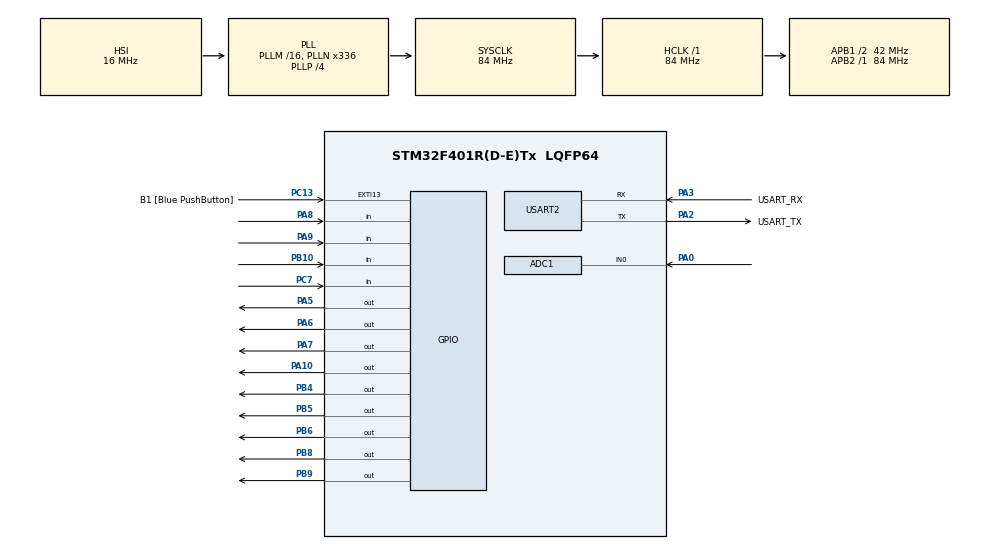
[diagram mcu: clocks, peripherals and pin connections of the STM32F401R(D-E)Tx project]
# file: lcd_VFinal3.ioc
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ADC1.Channel-1\#ChannelRegularConversion=ADC_CHANNEL_0
ADC1.NbrOfConversionFlag=1
ADC1.Rank-1\#ChannelRegularConversion=1
ADC1.SamplingTime-1\#ChannelRegularConversion=ADC_SAMPLETIME_3CYCLES
ADC1.master=1
Mcu.Family=STM32F4
Mcu.Name=STM32F401R(D-E)Tx
Mcu.Package=LQFP64
NVIC.PriorityGroup=NVIC_PRIORITYGROUP_0
PA0-WKUP.Signal=ADCx_IN0
PA10.Signal=GPIO_Output
PA13.GPIO_Label=TMS
PA13.Mode=Serial_Wire
PA13.Signal=SYS_JTMS-SWDIO
PA14.GPIO_Label=TCK
PA14.Mode=Serial_Wire
PA14.Signal=SYS_JTCK-SWCLK
PA2.GPIO_Label=USART_TX
PA2.GPIO_Mode=GPIO_MODE_AF_PP
PA2.GPIO_PuPd=GPIO_NOPULL
PA2.GPIO_Speed=GPIO_SPEED_FREQ_LOW
PA2.Mode=Asynchronous
PA2.Signal=USART2_TX
PA3.GPIO_Label=USART_RX
PA3.GPIO_Mode=GPIO_MODE_AF_PP
PA3.GPIO_PuPd=GPIO_NOPULL
PA3.GPIO_Speed=GPIO_SPEED_FREQ_LOW
PA3.Mode=Asynchronous
PA3.Signal=USART2_RX
PA5.Signal=GPIO_Output
PA6.Signal=GPIO_Output
PA7.Signal=GPIO_Output
PA8.Signal=GPIO_Input
PA9.Signal=GPIO_Input
PB10.Signal=GPIO_Input
PB3.GPIO_Label=SWO
PB3.Signal=SYS_JTDO-SWO
PB4.Signal=GPIO_Output
PB5.Signal=GPIO_Output
PB6.Signal=GPIO_Output
PB8.Signal=GPIO_Output
PB9.Signal=GPIO_Output
PC13-ANTI_TAMP.GPIO_Label=B1 [Blue PushButton]
PC13-ANTI_TAMP.GPIO_ModeDefaultEXTI=GPIO_MODE_IT_FALLING
PC13-ANTI_TAMP.GPIO_PuPd=GPIO_NOPULL
PC13-ANTI_TAMP.Signal=GPXTI13
PC14-OSC32_IN.Mode=LSE-External-Oscillator
PC14-OSC32_IN.Signal=RCC_OSC32_IN
PC15-OSC32_OUT.Mode=LSE-External-Oscillator
PC15-OSC32_OUT.Signal=RCC_OSC32_OUT
PC7.Signal=GPIO_Input
PH0\ -\ OSC_IN.Mode=HSE-External-Clock-Source
PH0\ -\ OSC_IN.Signal=RCC_OSC_IN
PH1\ -\ OSC_OUT.Mode=HSE-External-Clock-Source
PH1\ -\ OSC_OUT.Signal=RCC_OSC_OUT
ProjectManager.HeapSize=0x200
ProjectManager.StackSize=0x400
ProjectManager.TargetToolchain=STM32CubeIDE
RCC.48MHZClocksFreq_Value=48000000
RCC.AHBFreq_Value=84000000
RCC.APB1CLKDivider=RCC_HCLK_DIV2
RCC.APB1Freq_Value=42000000
RCC.APB1TimFreq_Value=84000000
RCC.APB2Freq_Value=84000000
RCC.APB2TimFreq_Value=84000000
RCC.CortexFreq_Value=84000000
RCC.HCLKFreq_Value=84000000
RCC.HSE_VALUE=8000000
RCC.HSI_VALUE=16000000
RCC.PLLN=336
RCC.PLLP=RCC_PLLP_DIV4
RCC.PLLQ=7
RCC.SYSCLKFreq_VALUE=84000000
RCC.SYSCLKSource=RCC_SYSCLKSOURCE_PLLCLK
RCC.VCOOutputFreq_Value=336000000
SH.ADCx_IN0.0=ADC1_IN0,IN0
TIM10.AutoReloadPreload=TIM_AUTORELOAD_PRELOAD_DISABLE
TIM10.Prescaler=83
USART2.VirtualMode=VM_ASYNC
VP_TIM10_VS_ClockSourceINT.Mode=Enable_Timer
board=NUCLEO-F401RE

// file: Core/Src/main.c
/* USER CODE BEGIN Header */
/**
  ******************************************************************************
  * @file           : main.c
  * @brief          : Main program body
  ******************************************************************************
  * @attention
  *
  * Copyright (c) 2023 STMicroelectronics.
  * All rights reserved.
  *
  * This software is licensed under terms that can be found in the LICENSE file
  * in the root directory of this software component.
  * If no LICENSE file comes with this software, it is provided AS-IS.
  *
  ******************************************************************************
  */
/* USER CODE END Header */
#include "main.h"

/* USER CODE BEGIN Includes */
#include "lcd.h"
#include "DHT.h"
#include "stm32f4xx_hal_tim.h"
#include "stm32f4xx_hal_conf.h"
#include "stdbool.h"
/* USER CODE END Includes */

/* USER CODE BEGIN PD */
#define BUTTON_INC_PIN GPIO_PIN_7
#define BUTTON_DEC_PIN GPIO_PIN_9
#define BUTTON_SET_PIN GPIO_PIN_8
#define BUTTON_RESET_PIN GPIO_PIN_10
#define BUZZER_PIN GPIO_PIN_5
#define DHT11_PIN GPIO_PIN_0
/* USER CODE END PD */

ADC_HandleTypeDef hadc1;

TIM_HandleTypeDef htim10;

UART_HandleTypeDef huart2;

/* USER CODE BEGIN PV */
Lcd_HandleTypeDef lcd;
DHT_DataTypedef DHT_Data;
volatile uint32_t timer_seconds = 0;
volatile uint32_t reminders_count = 0;
/* USER CODE END PV */

void SystemClock_Config(void);
static void MX_GPIO_Init(void);
static void MX_USART2_UART_Init(void);
static void MX_TIM10_Init(void);
static void MX_ADC1_Init(void);
/* USER CODE BEGIN PFP */
void displayDataOnLCD(float temperature, float humidity, uint32_t timer_seconds);
void startReminderTimer(uint32_t seconds);
/* USER CODE END PFP */

int main(void)
{
  /* USER CODE BEGIN 1 */
	float temperature;
	float humidity;
	int timer_seconds = 10;
	float voltage;
	uint16_t adcValue;
	bool buzzer = false;
	bool warning = false;
  /* USER CODE END 1 */

  /* MCU Configuration--------------------------------------------------------*/

  /* Reset of all peripherals, Initializes the Flash interface and the Systick. */
  HAL_Init();

  /* Configure the system clock */
  SystemClock_Config();

  /* Initialize all configured peripherals */
  MX_GPIO_Init();
  MX_USART2_UART_Init();
  MX_TIM10_Init();
  MX_ADC1_Init();
  /* USER CODE BEGIN 2 */
  // Lcd_PortType ports[] = { D4_GPIO_Port, D5_GPIO_Port, D6_GPIO_Port, D7_GPIO_Port };
    Lcd_PortType ports[] = { GPIOA, GPIOA, GPIOB, GPIOB };
    // Lcd_PinType pins[] = {D4_Pin, D5_Pin, D6_Pin, D7_Pin};
    Lcd_PinType pins[] = {GPIO_PIN_6, GPIO_PIN_5, GPIO_PIN_9, GPIO_PIN_8};
    // Lcd_create(ports, pins, RS_GPIO_Port, RS_Pin, EN_GPIO_Port, EN_Pin, LCD_4_BIT_MODE);
    lcd = Lcd_create(ports, pins, GPIOA, GPIO_PIN_7, GPIOB, GPIO_PIN_6, LCD_4_BIT_MODE);
    Lcd_clear(&lcd);

  /* USER CODE END 2 */

  /* Infinite loop */
  while (1)
  {
	  if (!buzzer){
		  HAL_ADC_Start(&hadc1); // Starting ADC Conversion
		  HAL_ADC_PollForConversion(&hadc1, HAL_MAX_DELAY); // Wait for completion of conversion
		  adcValue = HAL_ADC_GetValue(&hadc1); // Read conversion
		  HAL_ADC_Stop(&hadc1); // Stop conversion

			   // Convert ADC value to temperature (3.3 V)
		  voltage = (adcValue / 4095.0) * 3.3;
		  temperature = ((voltage - 0.5) * 100) - 1; // TMP36 linear voltage-temperature conversion
		  humidity = (temperature * 2.381) - 5;

		  if (!warning){
			 displayDataOnLCD(temperature, humidity, timer_seconds);
		  }

		  if (temperature > 25){
			 HAL_GPIO_WritePin(GPIOB, BUZZER_PIN, GPIO_PIN_SET);
			 warning = true;
			 Lcd_clear(&lcd);
			 Lcd_cursor(&lcd, 0, 0);
			 Lcd_string(&lcd, "UNSAFE TEMP/HUM!");
			 Lcd_cursor(&lcd, 1, 0);
			 Lcd_string(&lcd, "MOVE BOX!");
			 HAL_Delay(100);

		  }
		  else if(temperature <= 25){
			 HAL_GPIO_WritePin(GPIOB, BUZZER_PIN, GPIO_PIN_RESET);
			 warning = false;
		  }
	  }

 	  if (HAL_GPIO_ReadPin(GPIOA, BUTTON_SET_PIN) == GPIO_PIN_SET) {
 		  HAL_GPIO_WritePin(GPIOB, BUZZER_PIN, GPIO_PIN_RESET);
 		  buzzer = false;
 		  for(uint32_t time = timer_seconds; time >= 0; time--){
			  HAL_ADC_Start(&hadc1); // Starting ADC Conversion
			  HAL_ADC_PollForConversion(&hadc1, HAL_MAX_DELAY); // Wait for completion of conversion
			  adcValue = HAL_ADC_GetValue(&hadc1); // Read conversion
			  HAL_ADC_Stop(&hadc1); // Stop conversion

				   // Convert ADC value to temperature (3.3 V)
			  voltage = (adcValue / 4095.0) * 3.3;
			  temperature = ((voltage - 0.5) * 100) - 1; // TMP36 linear voltage-temperature conversion
			  humidity = (temperature * 2.381) - 5;
			  HAL_Delay(1000);
			  displayDataOnLCD(temperature, humidity, time);
				if (time == 0){
					break;
				}

 			}

 		  	reminders_count++;

		  	Lcd_clear(&lcd);
		  	Lcd_cursor(&lcd, 0, 0);
		  	Lcd_string(&lcd, "Take Your Meds!");

 		  	if (reminders_count == 4){
 		  		Lcd_clear(&lcd);
 		  		Lcd_cursor(&lcd, 0, 0);
 		  		Lcd_string(&lcd, "Refill Meds!");
 		  		reminders_count = 0;
 		  	}

			HAL_GPIO_WritePin(GPIOB, BUZZER_PIN, GPIO_PIN_SET);
			buzzer = true;
 	  }

 	  if (HAL_GPIO_ReadPin(GPIOB, BUTTON_RESET_PIN) == GPIO_PIN_SET) {
 		  // Reset everything
 		  timer_seconds = 0;
 		  reminders_count = 0;
 		  HAL_GPIO_WritePin(GPIOB, BUZZER_PIN, GPIO_PIN_RESET);
 		  buzzer = false;
 		  displayDataOnLCD(temperature, humidity, timer_seconds);
 	  }
 	  if (HAL_GPIO_ReadPin(GPIOC, BUTTON_INC_PIN) == GPIO_PIN_SET) {
 		  // Increase timer
 		  timer_seconds += 5; // You can adjust the increment as needed
 		  displayDataOnLCD(temperature, humidity, timer_seconds);
 	  }

 	  if (HAL_GPIO_ReadPin(GPIOA, BUTTON_DEC_PIN) == GPIO_PIN_SET) {
 		  // Decrease timer
 		  timer_seconds -= 5; // You can adjust the decrement as needed
 		  if (timer_seconds < 0) {
 			  timer_seconds = 0;
 		  }
 		  displayDataOnLCD(temperature, humidity, timer_seconds);
 	  }
 	  HAL_Delay(100);

  }
  /* USER CODE END 3 */
}

void SystemClock_Config(void)
{
  RCC_OscInitTypeDef RCC_OscInitStruct = {0};
  RCC_ClkInitTypeDef RCC_ClkInitStruct = {0};

  /** Configure the main internal regulator output voltage
  */
  __HAL_RCC_PWR_CLK_ENABLE();
  __HAL_PWR_VOLTAGESCALING_CONFIG(PWR_REGULATOR_VOLTAGE_SCALE2);

  /** Initializes the RCC Oscillators according to the specified parameters
  * in the RCC_OscInitTypeDef structure.
  */
  RCC_OscInitStruct.OscillatorType = RCC_OSCILLATORTYPE_HSI;
  RCC_OscInitStruct.HSIState = RCC_HSI_ON;
  RCC_OscInitStruct.HSICalibrationValue = RCC_HSICALIBRATION_DEFAULT;
  RCC_OscInitStruct.PLL.PLLState = RCC_PLL_ON;
  RCC_OscInitStruct.PLL.PLLSource = RCC_PLLSOURCE_HSI;
  RCC_OscInitStruct.PLL.PLLM = 16;
  RCC_OscInitStruct.PLL.PLLN = 336;
  RCC_OscInitStruct.PLL.PLLP = RCC_PLLP_DIV4;
  RCC_OscInitStruct.PLL.PLLQ = 7;
  if (HAL_RCC_OscConfig(&RCC_OscInitStruct) != HAL_OK)
  {
    Error_Handler();
  }

  /** Initializes the CPU, AHB and APB buses clocks
  */
  RCC_ClkInitStruct.ClockType = RCC_CLOCKTYPE_HCLK|RCC_CLOCKTYPE_SYSCLK
                              |RCC_CLOCKTYPE_PCLK1|RCC_CLOCKTYPE_PCLK2;
  RCC_ClkInitStruct.SYSCLKSource = RCC_SYSCLKSOURCE_PLLCLK;
  RCC_ClkInitStruct.AHBCLKDivider = RCC_SYSCLK_DIV1;
  RCC_ClkInitStruct.APB1CLKDivider = RCC_HCLK_DIV2;
  RCC_ClkInitStruct.APB2CLKDivider = RCC_HCLK_DIV1;

  if (HAL_RCC_ClockConfig(&RCC_ClkInitStruct, FLASH_LATENCY_2) != HAL_OK)
  {
    Error_Handler();
  }
}

static void MX_ADC1_Init(void)
{

  ADC_ChannelConfTypeDef sConfig = {0};

  /** Configure the global features of the ADC (Clock, Resolution, Data Alignment and number of conversion)
  */
  hadc1.Instance = ADC1;
  hadc1.Init.ClockPrescaler = ADC_CLOCK_SYNC_PCLK_DIV4;
  hadc1.Init.Resolution = ADC_RESOLUTION_12B;
  hadc1.Init.ScanConvMode = DISABLE;
  hadc1.Init.ContinuousConvMode = DISABLE;
  hadc1.Init.DiscontinuousConvMode = DISABLE;
  hadc1.Init.ExternalTrigConvEdge = ADC_EXTERNALTRIGCONVEDGE_NONE;
  hadc1.Init.ExternalTrigConv = ADC_SOFTWARE_START;
  hadc1.Init.DataAlign = ADC_DATAALIGN_RIGHT;
  hadc1.Init.NbrOfConversion = 1;
  hadc1.Init.DMAContinuousRequests = DISABLE;
  hadc1.Init.EOCSelection = ADC_EOC_SINGLE_CONV;
  if (HAL_ADC_Init(&hadc1) != HAL_OK)
  {
    Error_Handler();
  }

  /** Configure for the selected ADC regular channel its corresponding rank in the sequencer and its sample time.
  */
  sConfig.Channel = ADC_CHANNEL_0;
  sConfig.Rank = 1;
  sConfig.SamplingTime = ADC_SAMPLETIME_3CYCLES;
  if (HAL_ADC_ConfigChannel(&hadc1, &sConfig) != HAL_OK)
  {
    Error_Handler();
  }

}

static void MX_TIM10_Init(void)
{

  htim10.Instance = TIM10;
  htim10.Init.Prescaler = 83;
  htim10.Init.CounterMode = TIM_COUNTERMODE_UP;
  htim10.Init.Period = 65535;
  htim10.Init.ClockDivision = TIM_CLOCKDIVISION_DIV1;
  htim10.Init.AutoReloadPreload = TIM_AUTORELOAD_PRELOAD_DISABLE;
  if (HAL_TIM_Base_Init(&htim10) != HAL_OK)
  {
    Error_Handler();
  }

}

static void MX_USART2_UART_Init(void)
{

  huart2.Instance = USART2;
  huart2.Init.BaudRate = 115200;
  huart2.Init.WordLength = UART_WORDLENGTH_8B;
  huart2.Init.StopBits = UART_STOPBITS_1;
  huart2.Init.Parity = UART_PARITY_NONE;
  huart2.Init.Mode = UART_MODE_TX_RX;
  huart2.Init.HwFlowCtl = UART_HWCONTROL_NONE;
  huart2.Init.OverSampling = UART_OVERSAMPLING_16;
  if (HAL_UART_Init(&huart2) != HAL_OK)
  {
    Error_Handler();
  }

}

static void MX_GPIO_Init(void)
{
  GPIO_InitTypeDef GPIO_InitStruct = {0};

  /* GPIO Ports Clock Enable */
  __HAL_RCC_GPIOC_CLK_ENABLE();
  __HAL_RCC_GPIOH_CLK_ENABLE();
  __HAL_RCC_GPIOA_CLK_ENABLE();
  __HAL_RCC_GPIOB_CLK_ENABLE();

  /*Configure GPIO pin Output Level */
  HAL_GPIO_WritePin(GPIOA, GPIO_PIN_5|GPIO_PIN_6|GPIO_PIN_7, GPIO_PIN_RESET);

  /*Configure GPIO pin Output Level */
  HAL_GPIO_WritePin(GPIOB, GPIO_PIN_5|GPIO_PIN_6|GPIO_PIN_8|GPIO_PIN_9, GPIO_PIN_RESET);

  /*Configure GPIO pin : B1_Pin */
  GPIO_InitStruct.Pin = B1_Pin;
  GPIO_InitStruct.Mode = GPIO_MODE_IT_FALLING;
  GPIO_InitStruct.Pull = GPIO_NOPULL;
  HAL_GPIO_Init(B1_GPIO_Port, &GPIO_InitStruct);

  /*Configure GPIO pins : PA5 PA6 PA7 */
  GPIO_InitStruct.Pin = GPIO_PIN_5|GPIO_PIN_6|GPIO_PIN_7;
  GPIO_InitStruct.Mode = GPIO_MODE_OUTPUT_PP;
  GPIO_InitStruct.Pull = GPIO_NOPULL;
  GPIO_InitStruct.Speed = GPIO_SPEED_FREQ_LOW;
  HAL_GPIO_Init(GPIOA, &GPIO_InitStruct);

  /*Configure GPIO pins : PB10 PB4 */
  GPIO_InitStruct.Pin = GPIO_PIN_10|GPIO_PIN_4;
  GPIO_InitStruct.Mode = GPIO_MODE_INPUT;
  GPIO_InitStruct.Pull = GPIO_NOPULL;
  HAL_GPIO_Init(GPIOB, &GPIO_InitStruct);

  /*Configure GPIO pin : PC7 */
  GPIO_InitStruct.Pin = GPIO_PIN_7;
  GPIO_InitStruct.Mode = GPIO_MODE_INPUT;
  GPIO_InitStruct.Pull = GPIO_NOPULL;
  HAL_GPIO_Init(GPIOC, &GPIO_InitStruct);

  /*Configure GPIO pins : PA8 PA9 */
  GPIO_InitStruct.Pin = GPIO_PIN_8|GPIO_PIN_9;
  GPIO_InitStruct.Mode = GPIO_MODE_INPUT;
  GPIO_InitStruct.Pull = GPIO_NOPULL;
  HAL_GPIO_Init(GPIOA, &GPIO_InitStruct);

  /*Configure GPIO pins : PB5 PB6 PB8 PB9 */
  GPIO_InitStruct.Pin = GPIO_PIN_5|GPIO_PIN_6|GPIO_PIN_8|GPIO_PIN_9;
  GPIO_InitStruct.Mode = GPIO_MODE_OUTPUT_PP;
  GPIO_InitStruct.Pull = GPIO_NOPULL;
  GPIO_InitStruct.Speed = GPIO_SPEED_FREQ_LOW;
  HAL_GPIO_Init(GPIOB, &GPIO_InitStruct);

}

/* USER CODE BEGIN 4 */
void displayDataOnLCD(float temperature, float humidity, uint32_t timer_seconds) {
    // Implement LCD display functionality here
    // Display temperature, humidity, and timer on the LCD
	// Assuming your LCD library provides these functions
	Lcd_clear(&lcd); // Clear the LCD display
	Lcd_cursor(&lcd, 0, 0); // Set the cursor to the first line

	// Display temperature and humidity
	Lcd_string(&lcd, "Temp: ");
	Lcd_string(&lcd, "Hum: ");
	Lcd_string(&lcd, "Time: ");
	Lcd_cursor(&lcd, 1, 0);
	Lcd_int(&lcd, temperature); // Assuming LCD_PrintFloat prints a floating-point number with 2 decimal places
	Lcd_string(&lcd, "    ");
	Lcd_int(&lcd, humidity);

	// Display timer value
	Lcd_string(&lcd, "    ");
	Lcd_int(&lcd, timer_seconds); // Assuming LCD_PrintInt prints an integer value
	Lcd_string(&lcd, " s");
	HAL_Delay(300);
}

void startReminderTimer(uint32_t seconds) {

	for(uint32_t time = seconds; time >= 0; time--){
		HAL_Delay(1000);
		displayDataOnLCD(0, 0, time);
		if (time == 0){
			break;
		}
	}

}

void HAL_TIM_PeriodElapsedCallback(TIM_HandleTypeDef *htim) {
    if (htim->Instance == TIM10) {
        // Timer 10 has elapsed, set the reminder flag or perform necessary actions
        timer_seconds = 0; // Set timer_seconds to 0 to trigger the reminder in the main loop
    }
}
/* USER CODE END 4 */

void Error_Handler(void)
{
  __disable_irq();
  while (1)
  {
  }
}
